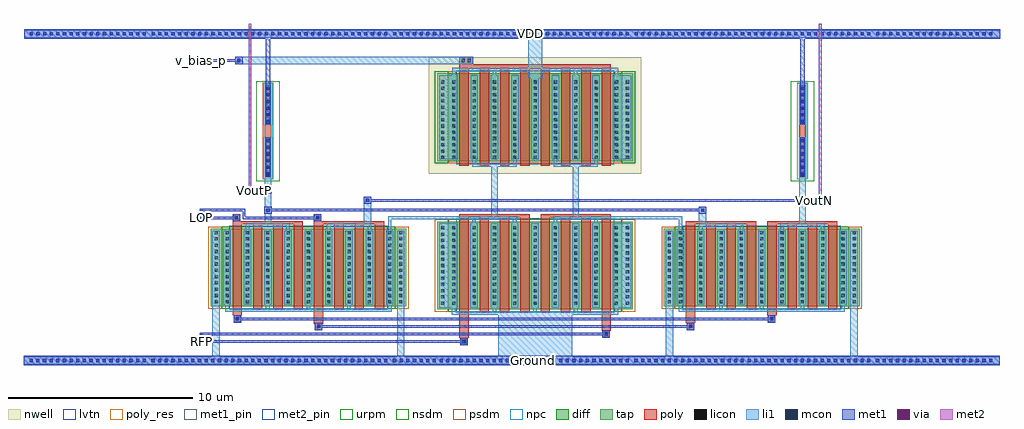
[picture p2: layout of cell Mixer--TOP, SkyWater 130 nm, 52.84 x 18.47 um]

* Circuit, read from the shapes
.subckt Mixer--TOP Ground LON LOP RFN RFP VDD VoutN VoutP v_bias_p
XM1 VoutP LOP Ground Ground sky130_fd_pr__nfet_01v8_lvt w=4.2 l=0.5 m=4
XM2 VoutN LON Ground Ground sky130_fd_pr__nfet_01v8_lvt w=4.2 l=0.5 m=4
XM3 Ground RFP Ground Ground sky130_fd_pr__nfet_01v8_lvt w=4.75 l=0.5 m=4
XM4 Ground RFN Ground Ground sky130_fd_pr__nfet_01v8_lvt w=4.75 l=0.5 m=4
XM5 VoutP LON Ground Ground sky130_fd_pr__nfet_01v8_lvt w=4.2 l=0.5 m=4
XM6 VoutN LOP Ground Ground sky130_fd_pr__nfet_01v8_lvt w=4.2 l=0.5 m=4
XM7 Ground v_bias_p VDD VDD sky130_fd_pr__pfet_01v8_lvt w=4.75 l=0.5 m=8
XR8 VDD VoutP Ground sky130_fd_pr__res_xhigh_po w=0.35 l=0.69
XR9 VDD VoutN Ground sky130_fd_pr__res_xhigh_po w=0.35 l=0.69
.ends

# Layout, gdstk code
from math import pi, radians
import gdstk
lib = gdstk.Library(unit=1e-6, precision=1e-09)
def R(c, l, rs):  # rectangles x0, y0, x1, y1
    for r in rs: c.add(gdstk.rectangle(r[:2], r[2:], *l))
def A(c, l, x, y, w, h, nx, ny, dx, dy):  # array of equal rectangles
    R(c, l, [(x+i*dx, y+j*dy, x+i*dx+w, y+j*dy+h) for i in range(nx) for j in range(ny)])
def P(c, l, *ps):  # polygons
    for p in ps: c.add(gdstk.Polygon(p, *l))
nwell = (64, 20)
diff = (65, 20)
tap = (65, 44)
poly_res = (66, 13)
poly = (66, 20)
licon = (66, 44)
li1 = (67, 20)
mcon = (67, 44)
met1_pin = (68, 16)
met1 = (68, 20)
via = (68, 44)
met2_pin = (69, 16)
met2 = (69, 20)
urpm = (79, 20)
nsdm = (93, 44)
psdm = (94, 20)
npc = (95, 20)
lvtn = (125, 44)

pmos_1v8_lvt_4p75_rbody_ = lib.new_cell('pmos_1v8_lvt_4p75_Rbody_4finger')
R(pmos_1v8_lvt_4p75_rbody_, nwell, [(-1.2,1.225,5.9,7.525)])
R(pmos_1v8_lvt_4p75_rbody_, diff, [(-0.15,1.9,4.85,6.65)])
R(pmos_1v8_lvt_4p75_rbody_, tap, [(4.85,1.9,5.45,6.65)])
A(pmos_1v8_lvt_4p75_rbody_, poly, 0.45, 1.65, 0.5, 5.25, 4, 1, 1.1, 0)
R(pmos_1v8_lvt_4p75_rbody_, poly, [(0.45,1.65,0.95,6.9)])
A(pmos_1v8_lvt_4p75_rbody_, licon, 0.065, 2.02, 0.17, 0.17, 5, 13, 1.1, 0.34)
A(pmos_1v8_lvt_4p75_rbody_, licon, 5.065, 2.02, 0.17, 0.17, 1, 13, 0, 0.34)
A(pmos_1v8_lvt_4p75_rbody_, li1, -0.05, 2, 0.4, 4.55, 5, 1, 1.1, 0)
R(pmos_1v8_lvt_4p75_rbody_, li1, [(1.15,1.6,3.55,1.8), (1.15,1.8,1.35,2), (3.35,1.8,3.55,2), (4.95,2,5.35,6.55)])
R(pmos_1v8_lvt_4p75_rbody_, nsdm, [(4.85,1.775,5.575,6.775)])
R(pmos_1v8_lvt_4p75_rbody_, psdm, [(-0.275,1.775,4.85,6.775)])
R(pmos_1v8_lvt_4p75_rbody_, lvtn, [(0.27,1.72,4.43,6.835)])
pmos_1v8_lvt_4p75_rbody_.add(gdstk.FlexPath([(0.155,6.55),(0.155,6.81)], 0.2, ends="flush", simple_path=True, layer=67, datatype=20))  # li1
pmos_1v8_lvt_4p75_rbody_.add(gdstk.FlexPath([(0.055,6.85),(0.425,6.85)], 0.2, ends="flush", simple_path=True, layer=67, datatype=20))  # li1
pmos_1v8_lvt_4p75_rbody_.add(gdstk.FlexPath([(0.425,6.85),(4.65,6.85)], 0.2, ends="flush", simple_path=True, layer=67, datatype=20))  # li1
pmos_1v8_lvt_4p75_rbody_.add(gdstk.FlexPath([(4.55,6.55),(4.55,6.75)], 0.2, ends="flush", simple_path=True, layer=67, datatype=20))  # li1
pmos_1v8_lvt_4p75_rbody_.add(gdstk.FlexPath([(2.35,6.55),(2.35,6.81)], 0.2, ends="flush", simple_path=True, layer=67, datatype=20))  # li1

pmos_1v8_lvt_4p75_lbody_ = lib.new_cell('pmos_1v8_lvt_4p75_Lbody_4finger')
R(pmos_1v8_lvt_4p75_lbody_, nwell, [(-1.21,1.225,5.89,7.525)])
R(pmos_1v8_lvt_4p75_lbody_, diff, [(-0.15,1.9,4.85,6.65)])
R(pmos_1v8_lvt_4p75_lbody_, tap, [(-0.75,1.9,-0.15,6.65)])
A(pmos_1v8_lvt_4p75_lbody_, poly, 0.45, 1.65, 0.5, 5.25, 4, 1, 1.1, 0)
R(pmos_1v8_lvt_4p75_lbody_, poly, [(0.45,1.65,0.95,6.9)])
A(pmos_1v8_lvt_4p75_lbody_, licon, -0.535, 2.02, 0.17, 0.17, 1, 13, 0, 0.34)
A(pmos_1v8_lvt_4p75_lbody_, licon, 0.065, 2.02, 0.17, 0.17, 5, 13, 1.1, 0.34)
A(pmos_1v8_lvt_4p75_lbody_, li1, -0.05, 2, 0.4, 4.55, 5, 1, 1.1, 0)
R(pmos_1v8_lvt_4p75_lbody_, li1, [(1.15,1.6,3.55,1.8), (1.15,1.8,1.35,2), (3.35,1.8,3.55,2), (-0.65,2,-0.25,6.55)])
R(pmos_1v8_lvt_4p75_lbody_, nsdm, [(-0.875,1.775,-0.15,6.775)])
R(pmos_1v8_lvt_4p75_lbody_, psdm, [(-0.15,1.775,4.975,6.775)])
R(pmos_1v8_lvt_4p75_lbody_, lvtn, [(0.27,1.72,4.43,6.835)])
pmos_1v8_lvt_4p75_lbody_.add(gdstk.FlexPath([(0.155,6.55),(0.155,6.81)], 0.2, ends="flush", simple_path=True, layer=67, datatype=20))  # li1
pmos_1v8_lvt_4p75_lbody_.add(gdstk.FlexPath([(0.055,6.85),(0.425,6.85)], 0.2, ends="flush", simple_path=True, layer=67, datatype=20))  # li1
pmos_1v8_lvt_4p75_lbody_.add(gdstk.FlexPath([(0.425,6.85),(4.65,6.85)], 0.2, ends="flush", simple_path=True, layer=67, datatype=20))  # li1
pmos_1v8_lvt_4p75_lbody_.add(gdstk.FlexPath([(4.55,6.55),(4.55,6.75)], 0.2, ends="flush", simple_path=True, layer=67, datatype=20))  # li1
pmos_1v8_lvt_4p75_lbody_.add(gdstk.FlexPath([(2.35,6.55),(2.35,6.81)], 0.2, ends="flush", simple_path=True, layer=67, datatype=20))  # li1

cascode_pmos_1v8_lvt_4p7 = lib.new_cell('CASCODE_pmos_1v8_lvt_4p75_4finger')
R(cascode_pmos_1v8_lvt_4p7, li1, [(-2.805,0.635,-2.605,5.185), (6.595,0.635,6.795,5.185)])
R(cascode_pmos_1v8_lvt_4p7, lvtn, [(1.875,0.355,2.115,5.47)])
cascode_pmos_1v8_lvt_4p7.add(gdstk.FlexPath([(-2.105,5.66),(6.095,5.66)], 0.25, ends="flush", simple_path=True, layer=66, datatype=20))  # poly
cascode_pmos_1v8_lvt_4p7.add(gdstk.Reference(pmos_1v8_lvt_4p75_rbody_, (1.845,-1.365)))
cascode_pmos_1v8_lvt_4p7.add(gdstk.Reference(pmos_1v8_lvt_4p75_lbody_, (-2.555,-1.365)))

nmos_1v8_lvt_4p2_body_4f = lib.new_cell('nmos_1v8_lvt_4p2_body_4finger')
R(nmos_1v8_lvt_4p2_body_4f, diff, [(-8.25,0.3,-3.25,4.5)])
R(nmos_1v8_lvt_4p2_body_4f, tap, [(-8.85,0.3,-8.25,4.5)])
A(nmos_1v8_lvt_4p2_body_4f, poly, -7.65, 0.15, 0.5, 4.6, 4, 1, 1.1, 0)
R(nmos_1v8_lvt_4p2_body_4f, poly, [(-7.65,4.75,-3.85,4.9)])
A(nmos_1v8_lvt_4p2_body_4f, licon, -8.635, 0.47, 0.17, 0.17, 1, 12, 0, 0.34)
A(nmos_1v8_lvt_4p2_body_4f, licon, -8.035, 0.47, 0.17, 0.17, 5, 12, 1.1, 0.34)
A(nmos_1v8_lvt_4p2_body_4f, li1, -8.05, 0.2, 0.2, 0.2, 3, 1, 2.2, 0)
A(nmos_1v8_lvt_4p2_body_4f, li1, -8.15, 0.4, 0.4, 4, 5, 1, 1.1, 0)
R(nmos_1v8_lvt_4p2_body_4f, li1, [(-8.05,0,-3.45,0.2), (-8.75,0.4,-8.35,4.4), (-6.95,4.4,-6.75,4.6), (-4.75,4.4,-4.55,4.6), (-6.95,4.6,-4.55,4.8)])
R(nmos_1v8_lvt_4p2_body_4f, nsdm, [(-8.25,0.175,-3.125,4.625)])
R(nmos_1v8_lvt_4p2_body_4f, psdm, [(-8.975,0.175,-8.25,4.625)])
R(nmos_1v8_lvt_4p2_body_4f, lvtn, [(-7.83,0.12,-3.67,4.68)])

nmos_1v8_lvt_4p75_body_4 = lib.new_cell('nmos_1v8_lvt_4p75_body_4finger')
R(nmos_1v8_lvt_4p75_body_4, diff, [(-9.95,0.1,-4.95,4.85)])
R(nmos_1v8_lvt_4p75_body_4, tap, [(-10.55,0.1,-9.95,4.85)])
A(nmos_1v8_lvt_4p75_body_4, poly, -9.35, -0.05, 0.5, 5.15, 4, 1, 1.1, 0)
R(nmos_1v8_lvt_4p75_body_4, poly, [(-9.35,5.1,-5.55,5.25)])
A(nmos_1v8_lvt_4p75_body_4, licon, -10.335, 0.35, 0.17, 0.17, 1, 13, 0, 0.34)
A(nmos_1v8_lvt_4p75_body_4, licon, -9.735, 0.35, 0.17, 0.17, 5, 13, 1.1, 0.34)
A(nmos_1v8_lvt_4p75_body_4, li1, -9.75, 0, 0.2, 0.2, 3, 1, 2.2, 0)
A(nmos_1v8_lvt_4p75_body_4, li1, -9.85, 0.2, 0.4, 4.55, 5, 1, 1.1, 0)
R(nmos_1v8_lvt_4p75_body_4, li1, [(-9.75,-0.2,-5.15,0), (-10.45,0.2,-10.05,4.75), (-8.65,4.75,-8.45,4.95), (-6.45,4.75,-6.25,4.95), (-8.65,4.95,-6.25,5.15)])
R(nmos_1v8_lvt_4p75_body_4, nsdm, [(-9.95,-0.025,-4.825,4.975)])
R(nmos_1v8_lvt_4p75_body_4, psdm, [(-10.675,-0.025,-9.95,4.975)])
R(nmos_1v8_lvt_4p75_body_4, lvtn, [(-9.53,-0.08,-5.37,5.03)])

p_pcon_li_single = lib.new_cell('P_pcon_li_single')
R(p_pcon_li_single, poly, [(-0.1,-0.1,0.3,0.3)])
R(p_pcon_li_single, licon, [(0.015,0.015,0.185,0.185)])
R(p_pcon_li_single, li1, [(-0.1,-0.1,0.3,0.3)])
R(p_pcon_li_single, npc, [(-0.085,-0.085,0.285,0.285)])

fuckthisresistor3 = lib.new_cell('fuckthisresistor3')
R(fuckthisresistor3, poly_res, [(-2.56,-0.405,-2.21,0.405)])
R(fuckthisresistor3, poly, [(-2.56,-2.505,-2.21,2.505)])
R(fuckthisresistor3, licon, [(-2.47,-2.41,-2.3,-2.24), (-2.47,-2.41,-2.3,-2.24), (-2.47,-2.05,-2.3,-1.88), (-2.47,-2.05,-2.3,-1.88), (-2.47,-1.69,-2.3,-1.52), (-2.47,-1.69,-2.3,-1.52), (-2.47,-1.33,-2.3,-1.16), (-2.47,-1.33,-2.3,-1.16), (-2.47,-0.97,-2.3,-0.8), (-2.47,-0.97,-2.3,-0.8), (-2.47,-0.61,-2.3,-0.44), (-2.47,-0.61,-2.3,-0.44), (-2.47,0.435,-2.3,0.605), (-2.47,0.435,-2.3,0.605), (-2.47,0.795,-2.3,0.965), (-2.47,0.795,-2.3,0.965), (-2.47,1.155,-2.3,1.325), (-2.47,1.155,-2.3,1.325), (-2.47,1.515,-2.3,1.685), (-2.47,1.515,-2.3,1.685), (-2.47,1.875,-2.3,2.045), (-2.47,1.875,-2.3,2.045), (-2.47,2.235,-2.3,2.405), (-2.47,2.235,-2.3,2.405)])
R(fuckthisresistor3, li1, [(-2.56,-2.505,-2.21,-0.345), (-2.56,0.345,-2.21,2.505)])
R(fuckthisresistor3, mcon, [(-2.47,-2.41,-2.3,-2.24), (-2.47,-2.41,-2.3,-2.24), (-2.47,-2.05,-2.3,-1.88), (-2.47,-2.05,-2.3,-1.88), (-2.47,-1.69,-2.3,-1.52), (-2.47,-1.69,-2.3,-1.52), (-2.47,-1.33,-2.3,-1.16), (-2.47,-1.33,-2.3,-1.16), (-2.47,-0.97,-2.3,-0.8), (-2.47,-0.97,-2.3,-0.8), (-2.47,-0.61,-2.3,-0.44), (-2.47,-0.61,-2.3,-0.44), (-2.47,0.435,-2.3,0.605), (-2.47,0.435,-2.3,0.605), (-2.47,0.435,-2.3,0.605), (-2.47,0.795,-2.3,0.965), (-2.47,0.795,-2.3,0.965), (-2.47,0.795,-2.3,0.965), (-2.47,1.155,-2.3,1.325), (-2.47,1.155,-2.3,1.325), (-2.47,1.155,-2.3,1.325), (-2.47,1.515,-2.3,1.685), (-2.47,1.515,-2.3,1.685), (-2.47,1.515,-2.3,1.685), (-2.47,1.875,-2.3,2.045), (-2.47,1.875,-2.3,2.045), (-2.47,1.875,-2.3,2.045), (-2.47,2.235,-2.3,2.405), (-2.47,2.235,-2.3,2.405), (-2.47,2.235,-2.3,2.405)])
R(fuckthisresistor3, met1, [(-2.51,-2.475,-2.26,-0.37), (-2.51,0.37,-2.26,2.475)])
R(fuckthisresistor3, urpm, [(-3.02,-2.705,-1.75,2.705)])
R(fuckthisresistor3, psdm, [(-2.67,-2.615,-2.1,2.615)])
R(fuckthisresistor3, npc, [(-2.655,-2.6,-2.115,2.6)])

li_via_m1 = lib.new_cell('Li_via_M1')
R(li_via_m1, li1, [(-0.1,-0.1,0.3,0.3)])
R(li_via_m1, mcon, [(0.015,0.015,0.185,0.185)])
R(li_via_m1, met1, [(-0.1,-0.1,0.3,0.3)])

li_via_m2 = lib.new_cell('Li_via_M2')
R(li_via_m2, li1, [(-0.1,-0.1,0.3,0.3)])
R(li_via_m2, mcon, [(0.015,0.015,0.185,0.185)])
R(li_via_m2, met1, [(-0.1,-0.1,0.3,0.3)])
R(li_via_m2, met2, [(-0.1,-0.1,0.3,0.3)])

poly_pcon_li_double = lib.new_cell('Poly_pcon_Li_double')
R(poly_pcon_li_double, poly, [(-0.1,-0.1,0.64,0.3)])
R(poly_pcon_li_double, licon, [(0.015,0.015,0.185,0.185), (0.355,0.015,0.525,0.185)])
R(poly_pcon_li_double, li1, [(-0.1,-0.1,0.64,0.3)])
R(poly_pcon_li_double, npc, [(-0.085,-0.085,0.625,0.285)])

mixer__top = lib.new_cell('Mixer--TOP')
R(mixer__top, poly, [(-0.755,3.56,-0.015,3.57)])
R(mixer__top, li1, [(-24.33,-12.67,28.505,-12.27), (-1.46,-9.605,-1.26,-5.055), (7.94,-9.605,8.14,-5.055), (-24.325,5.01,28.51,5.41)])
P(mixer__top, li1, [(-4.615,-5.195),(-4.615,-4.655),(-0.06,-4.655),(-0.06,-4.825),(-4.445,-4.825),(-4.445,-5.195)],
  [(11.125,-5.195),(11.125,-4.825),(6.74,-4.825),(6.74,-4.655),(11.295,-4.655),(11.295,-5.195)])
R(mixer__top, mcon, [(-24.025,-12.555,-23.855,-12.385), (-24.025,-12.555,-23.855,-12.385), (-23.665,-12.555,-23.495,-12.385), (-23.665,-12.555,-23.495,-12.385), (-23.305,-12.555,-23.135,-12.385), (-23.305,-12.555,-23.135,-12.385), (-22.945,-12.555,-22.775,-12.385), (-22.945,-12.555,-22.775,-12.385), (-22.585,-12.555,-22.415,-12.385), (-22.585,-12.555,-22.415,-12.385), (-22.225,-12.555,-22.055,-12.385), (-22.225,-12.555,-22.055,-12.385), (-21.865,-12.555,-21.695,-12.385), (-21.865,-12.555,-21.695,-12.385), (-21.505,-12.555,-21.335,-12.385), (-21.505,-12.555,-21.335,-12.385), (-21.145,-12.555,-20.975,-12.385), (-21.145,-12.555,-20.975,-12.385), (-20.785,-12.555,-20.615,-12.385), (-20.785,-12.555,-20.615,-12.385), (-20.425,-12.555,-20.255,-12.385), (-20.425,-12.555,-20.255,-12.385), (-20.065,-12.555,-19.895,-12.385), (-20.065,-12.555,-19.895,-12.385), (-19.705,-12.555,-19.535,-12.385), (-19.705,-12.555,-19.535,-12.385), (-19.345,-12.555,-19.175,-12.385), (-19.345,-12.555,-19.175,-12.385), (-18.985,-12.555,-18.815,-12.385), (-18.985,-12.555,-18.815,-12.385), (-18.625,-12.555,-18.455,-12.385), (-18.625,-12.555,-18.455,-12.385), (-18.265,-12.555,-18.095,-12.385), (-18.265,-12.555,-18.095,-12.385), (-17.905,-12.555,-17.735,-12.385), (-17.905,-12.555,-17.735,-12.385), (-17.43,-12.555,-17.26,-12.385), (-17.43,-12.555,-17.26,-12.385), (-17.07,-12.555,-16.9,-12.385), (-17.07,-12.555,-16.9,-12.385), (-16.71,-12.555,-16.54,-12.385), (-16.71,-12.555,-16.54,-12.385), (-16.35,-12.555,-16.18,-12.385), (-16.35,-12.555,-16.18,-12.385), (-15.99,-12.555,-15.82,-12.385), (-15.99,-12.555,-15.82,-12.385), (-15.63,-12.555,-15.46,-12.385), (-15.63,-12.555,-15.46,-12.385), (-15.27,-12.555,-15.1,-12.385), (-15.27,-12.555,-15.1,-12.385), (-14.91,-12.555,-14.74,-12.385), (-14.91,-12.555,-14.74,-12.385), (-14.55,-12.555,-14.38,-12.385), (-14.55,-12.555,-14.38,-12.385), (-14.19,-12.555,-14.02,-12.385), (-14.19,-12.555,-14.02,-12.385), (-13.83,-12.555,-13.66,-12.385), (-13.83,-12.555,-13.66,-12.385), (-13.47,-12.555,-13.3,-12.385), (-13.47,-12.555,-13.3,-12.385), (-13.11,-12.555,-12.94,-12.385), (-13.11,-12.555,-12.94,-12.385), (-12.75,-12.555,-12.58,-12.385), (-12.75,-12.555,-12.58,-12.385), (-12.39,-12.555,-12.22,-12.385), (-12.39,-12.555,-12.22,-12.385), (-12.03,-12.555,-11.86,-12.385), (-12.03,-12.555,-11.86,-12.385), (-11.67,-12.555,-11.5,-12.385), (-11.67,-12.555,-11.5,-12.385), (-11.31,-12.555,-11.14,-12.385), (-11.31,-12.555,-11.14,-12.385), (-10.95,-12.555,-10.78,-12.385), (-10.95,-12.555,-10.78,-12.385), (-10.59,-12.555,-10.42,-12.385), (-10.59,-12.555,-10.42,-12.385), (-10.23,-12.555,-10.06,-12.385), (-10.23,-12.555,-10.06,-12.385), (-9.87,-12.555,-9.7,-12.385), (-9.87,-12.555,-9.7,-12.385), (-9.51,-12.555,-9.34,-12.385), (-9.51,-12.555,-9.34,-12.385), (-9.15,-12.555,-8.98,-12.385), (-9.15,-12.555,-8.98,-12.385), (-8.79,-12.555,-8.62,-12.385), (-8.79,-12.555,-8.62,-12.385), (-8.43,-12.555,-8.26,-12.385), (-8.43,-12.555,-8.26,-12.385), (-8.07,-12.555,-7.9,-12.385), (-8.07,-12.555,-7.9,-12.385), (-7.71,-12.555,-7.54,-12.385), (-7.71,-12.555,-7.54,-12.385), (-7.35,-12.555,-7.18,-12.385), (-7.35,-12.555,-7.18,-12.385), (-6.99,-12.555,-6.82,-12.385), (-6.99,-12.555,-6.82,-12.385), (-6.63,-12.555,-6.46,-12.385), (-6.63,-12.555,-6.46,-12.385), (-6.27,-12.555,-6.1,-12.385), (-6.27,-12.555,-6.1,-12.385), (-5.91,-12.555,-5.74,-12.385), (-5.91,-12.555,-5.74,-12.385), (-5.55,-12.555,-5.38,-12.385), (-5.55,-12.555,-5.38,-12.385), (-5.19,-12.555,-5.02,-12.385), (-5.19,-12.555,-5.02,-12.385), (-4.83,-12.555,-4.66,-12.385), (-4.83,-12.555,-4.66,-12.385), (-4.355,-12.555,-4.185,-12.385), (-4.355,-12.555,-4.185,-12.385), (-3.995,-12.555,-3.825,-12.385), (-3.995,-12.555,-3.825,-12.385), (-3.635,-12.555,-3.465,-12.385), (-3.635,-12.555,-3.465,-12.385), (-3.275,-12.555,-3.105,-12.385), (-3.275,-12.555,-3.105,-12.385), (-2.915,-12.555,-2.745,-12.385), (-2.915,-12.555,-2.745,-12.385), (-2.555,-12.555,-2.385,-12.385), (-2.555,-12.555,-2.385,-12.385), (-2.195,-12.555,-2.025,-12.385), (-2.195,-12.555,-2.025,-12.385), (-1.835,-12.555,-1.665,-12.385), (-1.835,-12.555,-1.665,-12.385), (-1.475,-12.555,-1.305,-12.385), (-1.475,-12.555,-1.305,-12.385), (-1.115,-12.555,-0.945,-12.385), (-1.115,-12.555,-0.945,-12.385), (-0.755,-12.555,-0.585,-12.385), (-0.755,-12.555,-0.585,-12.385), (-0.395,-12.555,-0.225,-12.385), (-0.395,-12.555,-0.225,-12.385), (-0.035,-12.555,0.135,-12.385), (-0.035,-12.555,0.135,-12.385), (0.325,-12.555,0.495,-12.385), (0.325,-12.555,0.495,-12.385), (0.685,-12.555,0.855,-12.385), (0.685,-12.555,0.855,-12.385), (1.045,-12.555,1.215,-12.385), (1.045,-12.555,1.215,-12.385), (1.405,-12.555,1.575,-12.385), (1.405,-12.555,1.575,-12.385), (1.765,-12.555,1.935,-12.385), (1.765,-12.555,1.935,-12.385), (2.125,-12.555,2.295,-12.385), (2.125,-12.555,2.295,-12.385), (2.485,-12.555,2.655,-12.385), (2.485,-12.555,2.655,-12.385), (2.845,-12.555,3.015,-12.385), (2.845,-12.555,3.015,-12.385), (3.205,-12.555,3.375,-12.385), (3.205,-12.555,3.375,-12.385), (3.565,-12.555,3.735,-12.385), (3.565,-12.555,3.735,-12.385), (3.925,-12.555,4.095,-12.385), (3.925,-12.555,4.095,-12.385), (4.285,-12.555,4.455,-12.385), (4.285,-12.555,4.455,-12.385), (4.645,-12.555,4.815,-12.385), (4.645,-12.555,4.815,-12.385), (5.005,-12.555,5.175,-12.385), (5.005,-12.555,5.175,-12.385), (5.365,-12.555,5.535,-12.385), (5.365,-12.555,5.535,-12.385), (5.725,-12.555,5.895,-12.385), (5.725,-12.555,5.895,-12.385), (6.085,-12.555,6.255,-12.385), (6.085,-12.555,6.255,-12.385), (6.445,-12.555,6.615,-12.385), (6.445,-12.555,6.615,-12.385), (6.805,-12.555,6.975,-12.385), (6.805,-12.555,6.975,-12.385), (7.165,-12.555,7.335,-12.385), (7.165,-12.555,7.335,-12.385), (7.525,-12.555,7.695,-12.385), (7.525,-12.555,7.695,-12.385), (7.885,-12.555,8.055,-12.385), (7.885,-12.555,8.055,-12.385), (8.245,-12.555,8.415,-12.385), (8.245,-12.555,8.415,-12.385), (8.72,-12.555,8.89,-12.385), (8.72,-12.555,8.89,-12.385), (9.08,-12.555,9.25,-12.385), (9.08,-12.555,9.25,-12.385), (9.44,-12.555,9.61,-12.385), (9.44,-12.555,9.61,-12.385), (9.8,-12.555,9.97,-12.385), (9.8,-12.555,9.97,-12.385), (10.16,-12.555,10.33,-12.385), (10.16,-12.555,10.33,-12.385), (10.52,-12.555,10.69,-12.385), (10.52,-12.555,10.69,-12.385), (10.88,-12.555,11.05,-12.385), (10.88,-12.555,11.05,-12.385), (11.24,-12.555,11.41,-12.385), (11.24,-12.555,11.41,-12.385), (11.6,-12.555,11.77,-12.385), (11.6,-12.555,11.77,-12.385), (11.96,-12.555,12.13,-12.385), (11.96,-12.555,12.13,-12.385), (12.32,-12.555,12.49,-12.385), (12.32,-12.555,12.49,-12.385), (12.68,-12.555,12.85,-12.385), (12.68,-12.555,12.85,-12.385), (13.04,-12.555,13.21,-12.385), (13.04,-12.555,13.21,-12.385), (13.4,-12.555,13.57,-12.385), (13.4,-12.555,13.57,-12.385), (13.76,-12.555,13.93,-12.385), (13.76,-12.555,13.93,-12.385), (14.12,-12.555,14.29,-12.385), (14.12,-12.555,14.29,-12.385), (14.48,-12.555,14.65,-12.385), (14.48,-12.555,14.65,-12.385), (14.84,-12.555,15.01,-12.385), (14.84,-12.555,15.01,-12.385), (15.2,-12.555,15.37,-12.385), (15.2,-12.555,15.37,-12.385), (15.56,-12.555,15.73,-12.385), (15.56,-12.555,15.73,-12.385), (15.92,-12.555,16.09,-12.385), (15.92,-12.555,16.09,-12.385), (16.28,-12.555,16.45,-12.385), (16.28,-12.555,16.45,-12.385), (16.64,-12.555,16.81,-12.385), (16.64,-12.555,16.81,-12.385), (17,-12.555,17.17,-12.385), (17,-12.555,17.17,-12.385), (17.36,-12.555,17.53,-12.385), (17.36,-12.555,17.53,-12.385), (17.72,-12.555,17.89,-12.385), (17.72,-12.555,17.89,-12.385), (18.08,-12.555,18.25,-12.385), (18.08,-12.555,18.25,-12.385), (18.44,-12.555,18.61,-12.385), (18.44,-12.555,18.61,-12.385), (18.8,-12.555,18.97,-12.385), (18.8,-12.555,18.97,-12.385), (19.16,-12.555,19.33,-12.385), (19.16,-12.555,19.33,-12.385), (19.52,-12.555,19.69,-12.385), (19.52,-12.555,19.69,-12.385), (19.88,-12.555,20.05,-12.385), (19.88,-12.555,20.05,-12.385), (20.24,-12.555,20.41,-12.385), (20.24,-12.555,20.41,-12.385), (20.6,-12.555,20.77,-12.385), (20.6,-12.555,20.77,-12.385), (20.96,-12.555,21.13,-12.385), (20.96,-12.555,21.13,-12.385), (21.32,-12.555,21.49,-12.385), (21.32,-12.555,21.49,-12.385), (21.795,-12.555,21.965,-12.385), (21.795,-12.555,21.965,-12.385), (22.155,-12.555,22.325,-12.385), (22.155,-12.555,22.325,-12.385), (22.515,-12.555,22.685,-12.385), (22.515,-12.555,22.685,-12.385), (22.875,-12.555,23.045,-12.385), (22.875,-12.555,23.045,-12.385), (23.235,-12.555,23.405,-12.385), (23.235,-12.555,23.405,-12.385), (23.595,-12.555,23.765,-12.385), (23.595,-12.555,23.765,-12.385), (23.955,-12.555,24.125,-12.385), (23.955,-12.555,24.125,-12.385), (24.315,-12.555,24.485,-12.385), (24.315,-12.555,24.485,-12.385), (24.675,-12.555,24.845,-12.385), (24.675,-12.555,24.845,-12.385), (25.035,-12.555,25.205,-12.385), (25.035,-12.555,25.205,-12.385), (25.395,-12.555,25.565,-12.385), (25.395,-12.555,25.565,-12.385), (25.755,-12.555,25.925,-12.385), (25.755,-12.555,25.925,-12.385), (26.115,-12.555,26.285,-12.385), (26.115,-12.555,26.285,-12.385), (26.475,-12.555,26.645,-12.385), (26.475,-12.555,26.645,-12.385), (26.835,-12.555,27.005,-12.385), (26.835,-12.555,27.005,-12.385), (27.195,-12.555,27.365,-12.385), (27.195,-12.555,27.365,-12.385), (27.555,-12.555,27.725,-12.385), (27.555,-12.555,27.725,-12.385), (27.915,-12.555,28.085,-12.385), (27.915,-12.555,28.085,-12.385), (-0.595,-11.53,-0.425,-11.36), (7.1,-11.12,7.27,-10.95), (-8.465,-10.71,-8.295,-10.54), (11.675,-10.71,11.845,-10.54), (-12.865,-10.3,-12.695,-10.13), (16.06,-10.3,16.23,-10.13), (-12.915,-4.83,-12.745,-4.66), (-8.515,-4.83,-8.345,-4.66), (-24.02,5.125,-23.85,5.295), (-24.02,5.125,-23.85,5.295), (-23.66,5.125,-23.49,5.295), (-23.66,5.125,-23.49,5.295), (-23.3,5.125,-23.13,5.295), (-23.3,5.125,-23.13,5.295), (-22.94,5.125,-22.77,5.295), (-22.94,5.125,-22.77,5.295), (-22.58,5.125,-22.41,5.295), (-22.58,5.125,-22.41,5.295), (-22.22,5.125,-22.05,5.295), (-22.22,5.125,-22.05,5.295), (-21.86,5.125,-21.69,5.295), (-21.86,5.125,-21.69,5.295), (-21.5,5.125,-21.33,5.295), (-21.5,5.125,-21.33,5.295), (-21.14,5.125,-20.97,5.295), (-21.14,5.125,-20.97,5.295), (-20.78,5.125,-20.61,5.295), (-20.78,5.125,-20.61,5.295), (-20.42,5.125,-20.25,5.295), (-20.42,5.125,-20.25,5.295), (-20.06,5.125,-19.89,5.295), (-20.06,5.125,-19.89,5.295), (-19.7,5.125,-19.53,5.295), (-19.7,5.125,-19.53,5.295), (-19.34,5.125,-19.17,5.295), (-19.34,5.125,-19.17,5.295), (-18.98,5.125,-18.81,5.295), (-18.98,5.125,-18.81,5.295), (-18.62,5.125,-18.45,5.295), (-18.62,5.125,-18.45,5.295), (-18.26,5.125,-18.09,5.295), (-18.26,5.125,-18.09,5.295), (-17.9,5.125,-17.73,5.295), (-17.9,5.125,-17.73,5.295), (-17.425,5.125,-17.255,5.295), (-17.425,5.125,-17.255,5.295), (-17.065,5.125,-16.895,5.295), (-17.065,5.125,-16.895,5.295), (-16.705,5.125,-16.535,5.295), (-16.705,5.125,-16.535,5.295), (-16.345,5.125,-16.175,5.295), (-16.345,5.125,-16.175,5.295), (-15.985,5.125,-15.815,5.295), (-15.985,5.125,-15.815,5.295), (-15.625,5.125,-15.455,5.295), (-15.625,5.125,-15.455,5.295), (-15.265,5.125,-15.095,5.295), (-15.265,5.125,-15.095,5.295), (-14.905,5.125,-14.735,5.295), (-14.905,5.125,-14.735,5.295), (-14.545,5.125,-14.375,5.295), (-14.545,5.125,-14.375,5.295), (-14.185,5.125,-14.015,5.295), (-14.185,5.125,-14.015,5.295), (-13.825,5.125,-13.655,5.295), (-13.825,5.125,-13.655,5.295), (-13.465,5.125,-13.295,5.295), (-13.465,5.125,-13.295,5.295), (-13.105,5.125,-12.935,5.295), (-13.105,5.125,-12.935,5.295), (-12.745,5.125,-12.575,5.295), (-12.745,5.125,-12.575,5.295), (-12.385,5.125,-12.215,5.295), (-12.385,5.125,-12.215,5.295), (-12.025,5.125,-11.855,5.295), (-12.025,5.125,-11.855,5.295), (-11.665,5.125,-11.495,5.295), (-11.665,5.125,-11.495,5.295), (-11.305,5.125,-11.135,5.295), (-11.305,5.125,-11.135,5.295), (-10.945,5.125,-10.775,5.295), (-10.945,5.125,-10.775,5.295), (-10.585,5.125,-10.415,5.295), (-10.585,5.125,-10.415,5.295), (-10.225,5.125,-10.055,5.295), (-10.225,5.125,-10.055,5.295), (-9.865,5.125,-9.695,5.295), (-9.865,5.125,-9.695,5.295), (-9.505,5.125,-9.335,5.295), (-9.505,5.125,-9.335,5.295), (-9.145,5.125,-8.975,5.295), (-9.145,5.125,-8.975,5.295), (-8.785,5.125,-8.615,5.295), (-8.785,5.125,-8.615,5.295), (-8.425,5.125,-8.255,5.295), (-8.425,5.125,-8.255,5.295), (-8.065,5.125,-7.895,5.295), (-8.065,5.125,-7.895,5.295), (-7.705,5.125,-7.535,5.295), (-7.705,5.125,-7.535,5.295), (-7.345,5.125,-7.175,5.295), (-7.345,5.125,-7.175,5.295), (-6.985,5.125,-6.815,5.295), (-6.985,5.125,-6.815,5.295), (-6.625,5.125,-6.455,5.295), (-6.625,5.125,-6.455,5.295), (-6.265,5.125,-6.095,5.295), (-6.265,5.125,-6.095,5.295), (-5.905,5.125,-5.735,5.295), (-5.905,5.125,-5.735,5.295), (-5.545,5.125,-5.375,5.295), (-5.545,5.125,-5.375,5.295), (-5.185,5.125,-5.015,5.295), (-5.185,5.125,-5.015,5.295), (-4.825,5.125,-4.655,5.295), (-4.825,5.125,-4.655,5.295), (-4.35,5.125,-4.18,5.295), (-4.35,5.125,-4.18,5.295), (-3.99,5.125,-3.82,5.295), (-3.99,5.125,-3.82,5.295), (-3.63,5.125,-3.46,5.295), (-3.63,5.125,-3.46,5.295), (-3.27,5.125,-3.1,5.295), (-3.27,5.125,-3.1,5.295), (-2.91,5.125,-2.74,5.295), (-2.91,5.125,-2.74,5.295), (-2.55,5.125,-2.38,5.295), (-2.55,5.125,-2.38,5.295), (-2.19,5.125,-2.02,5.295), (-2.19,5.125,-2.02,5.295), (-1.83,5.125,-1.66,5.295), (-1.83,5.125,-1.66,5.295), (-1.47,5.125,-1.3,5.295), (-1.47,5.125,-1.3,5.295), (-1.11,5.125,-0.94,5.295), (-1.11,5.125,-0.94,5.295), (-0.75,5.125,-0.58,5.295), (-0.75,5.125,-0.58,5.295), (-0.39,5.125,-0.22,5.295), (-0.39,5.125,-0.22,5.295), (-0.03,5.125,0.14,5.295), (-0.03,5.125,0.14,5.295), (0.33,5.125,0.5,5.295), (0.33,5.125,0.5,5.295), (0.69,5.125,0.86,5.295), (0.69,5.125,0.86,5.295), (1.05,5.125,1.22,5.295), (1.05,5.125,1.22,5.295), (1.41,5.125,1.58,5.295), (1.41,5.125,1.58,5.295), (1.77,5.125,1.94,5.295), (1.77,5.125,1.94,5.295), (2.13,5.125,2.3,5.295), (2.13,5.125,2.3,5.295), (2.49,5.125,2.66,5.295), (2.49,5.125,2.66,5.295), (2.85,5.125,3.02,5.295), (2.85,5.125,3.02,5.295), (3.21,5.125,3.38,5.295), (3.21,5.125,3.38,5.295), (3.57,5.125,3.74,5.295), (3.57,5.125,3.74,5.295), (3.93,5.125,4.1,5.295), (3.93,5.125,4.1,5.295), (4.29,5.125,4.46,5.295), (4.29,5.125,4.46,5.295), (4.65,5.125,4.82,5.295), (4.65,5.125,4.82,5.295), (5.01,5.125,5.18,5.295), (5.01,5.125,5.18,5.295), (5.37,5.125,5.54,5.295), (5.37,5.125,5.54,5.295), (5.73,5.125,5.9,5.295), (5.73,5.125,5.9,5.295), (6.09,5.125,6.26,5.295), (6.09,5.125,6.26,5.295), (6.45,5.125,6.62,5.295), (6.45,5.125,6.62,5.295), (6.81,5.125,6.98,5.295), (6.81,5.125,6.98,5.295), (7.17,5.125,7.34,5.295), (7.17,5.125,7.34,5.295), (7.53,5.125,7.7,5.295), (7.53,5.125,7.7,5.295), (7.89,5.125,8.06,5.295), (7.89,5.125,8.06,5.295), (8.25,5.125,8.42,5.295), (8.25,5.125,8.42,5.295), (8.725,5.125,8.895,5.295), (8.725,5.125,8.895,5.295), (9.085,5.125,9.255,5.295), (9.085,5.125,9.255,5.295), (9.445,5.125,9.615,5.295), (9.445,5.125,9.615,5.295), (9.805,5.125,9.975,5.295), (9.805,5.125,9.975,5.295), (10.165,5.125,10.335,5.295), (10.165,5.125,10.335,5.295), (10.525,5.125,10.695,5.295), (10.525,5.125,10.695,5.295), (10.885,5.125,11.055,5.295), (10.885,5.125,11.055,5.295), (11.245,5.125,11.415,5.295), (11.245,5.125,11.415,5.295), (11.605,5.125,11.775,5.295), (11.605,5.125,11.775,5.295), (11.965,5.125,12.135,5.295), (11.965,5.125,12.135,5.295), (12.325,5.125,12.495,5.295), (12.325,5.125,12.495,5.295), (12.685,5.125,12.855,5.295), (12.685,5.125,12.855,5.295), (13.045,5.125,13.215,5.295), (13.045,5.125,13.215,5.295), (13.405,5.125,13.575,5.295), (13.405,5.125,13.575,5.295), (13.765,5.125,13.935,5.295), (13.765,5.125,13.935,5.295), (14.125,5.125,14.295,5.295), (14.125,5.125,14.295,5.295), (14.485,5.125,14.655,5.295), (14.485,5.125,14.655,5.295), (14.845,5.125,15.015,5.295), (14.845,5.125,15.015,5.295), (15.205,5.125,15.375,5.295), (15.205,5.125,15.375,5.295), (15.565,5.125,15.735,5.295), (15.565,5.125,15.735,5.295), (15.925,5.125,16.095,5.295), (15.925,5.125,16.095,5.295), (16.285,5.125,16.455,5.295), (16.285,5.125,16.455,5.295), (16.645,5.125,16.815,5.295), (16.645,5.125,16.815,5.295), (17.005,5.125,17.175,5.295), (17.005,5.125,17.175,5.295), (17.365,5.125,17.535,5.295), (17.365,5.125,17.535,5.295), (17.725,5.125,17.895,5.295), (17.725,5.125,17.895,5.295), (18.085,5.125,18.255,5.295), (18.085,5.125,18.255,5.295), (18.445,5.125,18.615,5.295), (18.445,5.125,18.615,5.295), (18.805,5.125,18.975,5.295), (18.805,5.125,18.975,5.295), (19.165,5.125,19.335,5.295), (19.165,5.125,19.335,5.295), (19.525,5.125,19.695,5.295), (19.525,5.125,19.695,5.295), (19.885,5.125,20.055,5.295), (19.885,5.125,20.055,5.295), (20.245,5.125,20.415,5.295), (20.245,5.125,20.415,5.295), (20.605,5.125,20.775,5.295), (20.605,5.125,20.775,5.295), (20.965,5.125,21.135,5.295), (20.965,5.125,21.135,5.295), (21.325,5.125,21.495,5.295), (21.325,5.125,21.495,5.295), (21.8,5.125,21.97,5.295), (21.8,5.125,21.97,5.295), (22.16,5.125,22.33,5.295), (22.16,5.125,22.33,5.295), (22.52,5.125,22.69,5.295), (22.52,5.125,22.69,5.295), (22.88,5.125,23.05,5.295), (22.88,5.125,23.05,5.295), (23.24,5.125,23.41,5.295), (23.24,5.125,23.41,5.295), (23.6,5.125,23.77,5.295), (23.6,5.125,23.77,5.295), (23.96,5.125,24.13,5.295), (23.96,5.125,24.13,5.295), (24.32,5.125,24.49,5.295), (24.32,5.125,24.49,5.295), (24.68,5.125,24.85,5.295), (24.68,5.125,24.85,5.295), (25.04,5.125,25.21,5.295), (25.04,5.125,25.21,5.295), (25.4,5.125,25.57,5.295), (25.4,5.125,25.57,5.295), (25.76,5.125,25.93,5.295), (25.76,5.125,25.93,5.295), (26.12,5.125,26.29,5.295), (26.12,5.125,26.29,5.295), (26.48,5.125,26.65,5.295), (26.48,5.125,26.65,5.295), (26.84,5.125,27.01,5.295), (26.84,5.125,27.01,5.295), (27.2,5.125,27.37,5.295), (27.2,5.125,27.37,5.295), (27.56,5.125,27.73,5.295), (27.56,5.125,27.73,5.295), (27.92,5.125,28.09,5.295), (27.92,5.125,28.09,5.295)])
R(mixer__top, met1_pin, [(2.845,-12.555,3.74,-12.385), (-14.765,-11.49,-14.69,-11.41), (-14.765,-11.075,-14.69,-10.995), (-14.745,-4.795,-14.655,-4.71), (-14.74,-4.38,-14.65,-4.295), (-14.745,3.73,-14.67,3.795), (3.02,5.125,3.21,5.295)])
R(mixer__top, met1, [(-24.33,-12.72,28.505,-12.22), (-0.71,-11.645,-0.31,-11.245), (6.985,-11.235,7.385,-10.835), (-8.58,-10.825,-8.18,-10.425), (11.56,-10.825,11.96,-10.425), (-12.98,-10.415,-12.58,-10.015), (15.945,-10.415,16.345,-10.015), (-13.03,-4.945,-12.63,-4.545), (-8.63,-4.945,-8.23,-4.545), (-24.325,4.96,28.51,5.46)])
R(mixer__top, via, [(17.735,-3.87,17.885,-3.72), (-11.195,-3.32,-11.045,-3.17)])
R(mixer__top, met2_pin, [(18.42,-3.835,18.515,-3.75), (-11.915,-3.275,-11.835,-3.21)])
R(mixer__top, met2, [(17.61,-3.995,18.01,-3.595)])
R(mixer__top, lvtn, [(3.22,-9.885,3.46,-4.775), (-9.05,-9.725,-8.81,-5.165), (15.49,-9.725,15.73,-5.165)])
mixer__top.add(gdstk.FlexPath([(-12.78,-9.695),(-12.78,-9.97)], 0.5, ends="flush", simple_path=True, layer=66, datatype=20))  # poly
mixer__top.add(gdstk.FlexPath([(-12.78,-9.97),(-12.78,-10.015),(-12.78,-10.015)], 0.5, ends="flush", simple_path=True, layer=66, datatype=20))  # poly
mixer__top.add(gdstk.FlexPath([(16.16,-9.695),(16.16,-10.015)], 0.5, ends="flush", simple_path=True, layer=66, datatype=20))  # poly
mixer__top.add(gdstk.FlexPath([(-8.38,-9.695),(-8.38,-10.495)], 0.5, ends="flush", simple_path=True, layer=66, datatype=20))  # poly
mixer__top.add(gdstk.FlexPath([(11.76,-9.695),(11.76,-10.425)], 0.5, ends="flush", simple_path=True, layer=66, datatype=20))  # poly
mixer__top.add(gdstk.FlexPath([(7.19,-9.855),(7.19,-10.855)], 0.5, ends="flush", simple_path=True, layer=66, datatype=20))  # poly
mixer__top.add(gdstk.FlexPath([(-0.51,-9.855),(-0.51,-10.085)], 0.5, ends="flush", simple_path=True, layer=66, datatype=20))  # poly
mixer__top.add(gdstk.FlexPath([(-0.51,-10.085),(-0.51,-11.245)], 0.5, ends="flush", simple_path=True, layer=66, datatype=20))  # poly
mixer__top.add(gdstk.FlexPath([(-1,3.77),(-12.5,3.77)], 0.4, ends="flush", simple_path=True, layer=67, datatype=20))  # li1
mixer__top.add(gdstk.FlexPath([(-0.755,3.77),(-1,3.77)], 0.4, ends="flush", simple_path=True, layer=67, datatype=20))  # li1
mixer__top.add(gdstk.FlexPath([(5.545,-1.98),(5.545,-1.99),(5.545,-4.655)], 0.34, ends="flush", simple_path=True, layer=67, datatype=20))  # li1
mixer__top.add(gdstk.FlexPath([(17.81,-2.555),(17.81,-2.9)], 0.35, ends="flush", simple_path=True, layer=67, datatype=20))  # li1
mixer__top.add(gdstk.FlexPath([(17.81,-2.9),(17.81,-5.045)], 0.35, ends="flush", simple_path=True, layer=67, datatype=20))  # li1
mixer__top.add(gdstk.FlexPath([(3.35,3.385),(3.35,2.82)], 0.74, ends="flush", simple_path=True, layer=67, datatype=20))  # li1
mixer__top.add(gdstk.FlexPath([(3.35,3.385),(3.35,3.655)], 0.74, ends="flush", simple_path=True, layer=67, datatype=20))  # li1
mixer__top.add(gdstk.FlexPath([(3.35,3.655),(3.35,5.01)], 0.74, ends="flush", simple_path=True, layer=67, datatype=20))  # li1
mixer__top.add(gdstk.FlexPath([(1.15,-1.98),(1.15,-4.655)], 0.34, ends="flush", simple_path=True, layer=67, datatype=20))  # li1
mixer__top.add(gdstk.FlexPath([(12.41,-4.535),(12.41,-5.045)], 0.4, ends="flush", simple_path=True, layer=67, datatype=20))  # li1
mixer__top.add(gdstk.FlexPath([(-5.73,-3.99),(-5.73,-5.045)], 0.4, ends="flush", simple_path=True, layer=67, datatype=20))  # li1
mixer__top.add(gdstk.FlexPath([(-11.12,-2.555),(-11.12,-2.9)], 0.35, ends="flush", simple_path=True, layer=67, datatype=20))  # li1
mixer__top.add(gdstk.FlexPath([(-11.12,-2.9),(-11.12,-5.045)], 0.35, ends="flush", simple_path=True, layer=67, datatype=20))  # li1
mixer__top.add(gdstk.FlexPath([(-4.53,-5.445),(-4.53,-5.195)], 0.17, ends="flush", simple_path=True, layer=67, datatype=20))  # li1
mixer__top.add(gdstk.FlexPath([(11.21,-5.195),(11.21,-5.465)], 0.17, ends="flush", simple_path=True, layer=67, datatype=20))  # li1
mixer__top.add(gdstk.FlexPath([(3.35,-10.005),(3.35,-12.27)], 4, ends="flush", simple_path=True, layer=67, datatype=20))  # li1
mixer__top.add(gdstk.FlexPath([(-13.93,-9.445),(-13.93,-9.815)], 0.4, ends="flush", simple_path=True, layer=67, datatype=20))  # li1
mixer__top.add(gdstk.FlexPath([(-13.93,-9.815),(-13.93,-12.27)], 0.4, ends="flush", simple_path=True, layer=67, datatype=20))  # li1
mixer__top.add(gdstk.FlexPath([(-3.93,-9.445),(-3.93,-12.27)], 0.4, ends="flush", simple_path=True, layer=67, datatype=20))  # li1
mixer__top.add(gdstk.FlexPath([(10.61,-9.445),(10.61,-12.27)], 0.4, ends="flush", simple_path=True, layer=67, datatype=20))  # li1
mixer__top.add(gdstk.FlexPath([(20.61,-9.445),(20.61,-12.27)], 0.4, ends="flush", simple_path=True, layer=67, datatype=20))  # li1
mixer__top.add(gdstk.FlexPath([(-13.355,3.77),(-14.81,3.77)], 0.14, ends="flush", simple_path=True, layer=68, datatype=20))  # met1
mixer__top.add(gdstk.FlexPath([(-12.9,3.77),(-13.355,3.77)], 0.14, ends="flush", simple_path=True, layer=68, datatype=20))  # met1
mixer__top.add(gdstk.FlexPath([(17.81,2.425),(17.81,4.96)], 0.25, ends="flush", simple_path=True, layer=68, datatype=20))  # met1
mixer__top.add(gdstk.FlexPath([(-5.53,-3.8),(17.61,-3.8)], 0.14, ends="flush", simple_path=True, layer=68, datatype=20))  # met1
mixer__top.add(gdstk.FlexPath([(-11.12,2.425),(-11.12,2.7)], 0.25, ends="flush", simple_path=True, layer=68, datatype=20))  # met1
mixer__top.add(gdstk.FlexPath([(-11.12,2.7),(-11.12,4.96),(-11.12,4.96)], 0.25, ends="flush", simple_path=True, layer=68, datatype=20))  # met1
mixer__top.add(gdstk.FlexPath([(-13.03,-4.75),(-14.81,-4.75)], 0.14, ends="flush", simple_path=True, layer=68, datatype=20))  # met1
mixer__top.add(gdstk.FlexPath([(-10.92,-4.335),(-8.225,-4.335)], 0.14, ends="flush", simple_path=True, layer=68, datatype=20))  # met1
mixer__top.add(gdstk.FlexPath([(-8.225,-4.335),(12.21,-4.335)], 0.14, ends="flush", simple_path=True, layer=68, datatype=20))  # met1
mixer__top.add(gdstk.FlexPath([(-12.58,-10.215),(11.775,-10.215)], 0.14, ends="flush", simple_path=True, layer=68, datatype=20))  # met1
mixer__top.add(gdstk.FlexPath([(11.775,-10.215),(16.165,-10.215)], 0.14, ends="flush", simple_path=True, layer=68, datatype=20))  # met1
mixer__top.add(gdstk.FlexPath([(-8.18,-10.625),(11.75,-10.625)], 0.14, ends="flush", simple_path=True, layer=68, datatype=20))  # met1
mixer__top.add(gdstk.FlexPath([(-8.63,-4.755),(-12.35,-4.755)], 0.14, ends="flush", simple_path=True, layer=68, datatype=20))  # met1
mixer__top.add(gdstk.FlexPath([(-12.42,-4.825),(-12.42,-4.595)], 0.14, ends="flush", simple_path=True, layer=68, datatype=20))  # met1
mixer__top.add(gdstk.FlexPath([(-12.42,-4.595),(-12.42,-4.34)], 0.14, ends="flush", simple_path=True, layer=68, datatype=20))  # met1
mixer__top.add(gdstk.FlexPath([(-12.35,-4.335),(-12.485,-4.335)], 0.14, ends="flush", simple_path=True, layer=68, datatype=20))  # met1
mixer__top.add(gdstk.FlexPath([(-12.485,-4.335),(-14.81,-4.335)], 0.14, ends="flush", simple_path=True, layer=68, datatype=20))  # met1
mixer__top.add(gdstk.FlexPath([(6.985,-11.035),(6.29,-11.035)], 0.14, ends="flush", simple_path=True, layer=68, datatype=20))  # met1
mixer__top.add(gdstk.FlexPath([(6.29,-11.035),(-14.81,-11.035)], 0.14, ends="flush", simple_path=True, layer=68, datatype=20))  # met1
mixer__top.add(gdstk.FlexPath([(-0.71,-11.45),(-14.81,-11.45)], 0.14, ends="flush", simple_path=True, layer=68, datatype=20))  # met1
mixer__top.add(gdstk.FlexPath([(18.01,-3.795),(18.71,-3.795)], 0.14, ends="flush", simple_path=True, layer=69, datatype=20))  # met2
mixer__top.add(gdstk.FlexPath([(-11.32,-3.245),(-12.02,-3.245)], 0.14, ends="flush", simple_path=True, layer=69, datatype=20))  # met2
mixer__top.add(gdstk.FlexPath([(-12.09,-3.315),(-12.09,-3.095)], 0.14, ends="flush", simple_path=True, layer=69, datatype=20))  # met2
mixer__top.add(gdstk.FlexPath([(18.78,-3.865),(18.78,-3.635)], 0.14, ends="flush", simple_path=True, layer=69, datatype=20))  # met2
mixer__top.add(gdstk.FlexPath([(-12.09,-3.095),(-12.09,5.75)], 0.14, ends="flush", simple_path=True, layer=69, datatype=20))  # met2
mixer__top.add(gdstk.FlexPath([(18.78,-3.635),(18.78,5.75)], 0.14, ends="flush", simple_path=True, layer=69, datatype=20))  # met2
mixer__top.add(gdstk.Reference(cascode_pmos_1v8_lvt_4p7, (1.35,-2.215)))
mixer__top.add(gdstk.Reference(nmos_1v8_lvt_4p2_body_4f, (-5.38,-9.845)))
mixer__top.add(gdstk.Reference(nmos_1v8_lvt_4p2_body_4f, (-12.48,-9.845), rotation=pi, x_reflection=True))
mixer__top.add(gdstk.Reference(nmos_1v8_lvt_4p75_body_4, (8.59,-9.805)))
mixer__top.add(gdstk.Reference(nmos_1v8_lvt_4p75_body_4, (-1.91,-9.805), rotation=pi, x_reflection=True))
mixer__top.add(gdstk.Reference(p_pcon_li_single, (-12.93,-4.845)))
mixer__top.add(gdstk.Reference(nmos_1v8_lvt_4p2_body_4f, (19.16,-9.845)))
mixer__top.add(gdstk.Reference(nmos_1v8_lvt_4p2_body_4f, (12.06,-9.845), rotation=pi, x_reflection=True))
mixer__top.add(gdstk.Reference(p_pcon_li_single, (-12.88,-10.315)))
mixer__top.add(gdstk.Reference(p_pcon_li_single, (16.045,-10.315)))
mixer__top.add(gdstk.Reference(p_pcon_li_single, (-8.48,-10.725)))
mixer__top.add(gdstk.Reference(p_pcon_li_single, (11.66,-10.725)))
mixer__top.add(gdstk.Reference(p_pcon_li_single, (-8.53,-4.845)))
mixer__top.add(gdstk.Reference(p_pcon_li_single, (7.085,-11.135)))
mixer__top.add(gdstk.Reference(p_pcon_li_single, (-0.61,-11.545)))
mixer__top.add(gdstk.Reference(fuckthisresistor3, (-8.735,-0.05)))
mixer__top.add(gdstk.Reference(fuckthisresistor3, (20.195,-0.05)))
mixer__top.add(gdstk.Reference(li_via_m1, (-11.22,-4.435)))
mixer__top.add(gdstk.Reference(li_via_m1, (12.31,-4.435)))
mixer__top.add(gdstk.Reference(li_via_m1, (-5.83,-3.895)))
mixer__top.add(gdstk.Reference(li_via_m1, (17.71,-3.895)))
mixer__top.add(gdstk.Reference(li_via_m2, (-11.22,-3.345)))
mixer__top.add(gdstk.Reference(li_via_m1, (-12.8,3.67)))
mixer__top.add(gdstk.Reference(poly_pcon_li_double, (-0.655,3.67)))
mixer__top.add(gdstk.Label('v_bias_p', (-14.71,3.76), layer=68, texttype=16))
mixer__top.add(gdstk.Label('Ground', (3.265,-12.48), layer=68, texttype=16))
mixer__top.add(gdstk.Label('VDD', (3.115,5.205), layer=68, texttype=16))
mixer__top.add(gdstk.Label('RFP', (-14.73,-11.45), layer=68, texttype=16))
mixer__top.add(gdstk.Label('RFN', (-14.735,-11.035), layer=68, texttype=16))
mixer__top.add(gdstk.Label('LOP', (-14.7,-4.75), layer=68, texttype=16))
mixer__top.add(gdstk.Label('LON', (-14.695,-4.335), layer=68, texttype=16))
mixer__top.add(gdstk.Label('VoutP', (-11.875,-3.25), layer=69, texttype=16))
mixer__top.add(gdstk.Label('VoutN', (18.47,-3.8), layer=69, texttype=16))

lib.write_gds('Mixer--TOP.gds')
